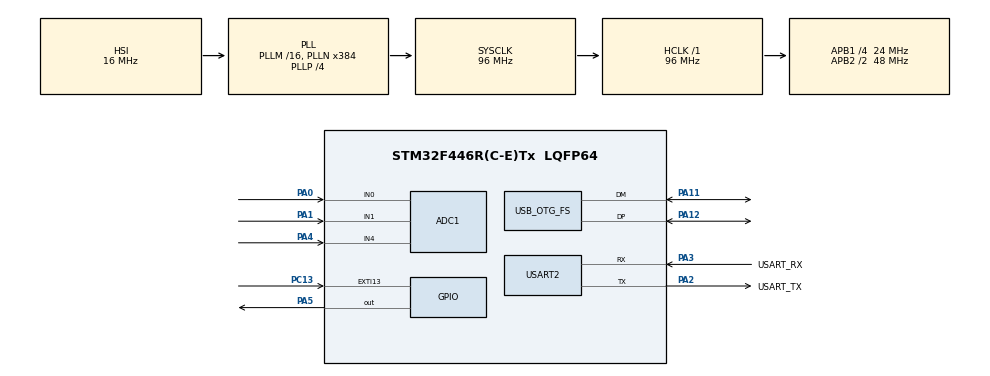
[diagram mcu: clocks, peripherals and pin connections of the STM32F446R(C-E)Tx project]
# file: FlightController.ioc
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ADC1.Channel-0\#ChannelRegularConversion=ADC_CHANNEL_0
ADC1.Channel-1\#ChannelRegularConversion=ADC_CHANNEL_1
ADC1.Channel-2\#ChannelRegularConversion=ADC_CHANNEL_4
ADC1.ContinuousConvMode=ENABLE
ADC1.DMAContinuousRequests=ENABLE
ADC1.NbrOfConversion=3
ADC1.NbrOfConversionFlag=1
ADC1.Rank-0\#ChannelRegularConversion=1
ADC1.Rank-1\#ChannelRegularConversion=2
ADC1.Rank-2\#ChannelRegularConversion=3
ADC1.SamplingTime-0\#ChannelRegularConversion=ADC_SAMPLETIME_56CYCLES
ADC1.SamplingTime-1\#ChannelRegularConversion=ADC_SAMPLETIME_56CYCLES
ADC1.SamplingTime-2\#ChannelRegularConversion=ADC_SAMPLETIME_56CYCLES
ADC1.ScanConvMode=ENABLE
ADC1.master=1
Dma.ADC1.0.Direction=DMA_PERIPH_TO_MEMORY
Dma.ADC1.0.FIFOMode=DMA_FIFOMODE_DISABLE
Dma.ADC1.0.Instance=DMA2_Stream0
Dma.ADC1.0.MemDataAlignment=DMA_MDATAALIGN_HALFWORD
Dma.ADC1.0.MemInc=DMA_MINC_ENABLE
Dma.ADC1.0.Mode=DMA_CIRCULAR
Dma.ADC1.0.PeriphDataAlignment=DMA_PDATAALIGN_HALFWORD
Dma.ADC1.0.PeriphInc=DMA_PINC_DISABLE
Dma.ADC1.0.Priority=DMA_PRIORITY_LOW
Dma.Request0=ADC1
Mcu.Family=STM32F4
Mcu.Name=STM32F446R(C-E)Tx
Mcu.Package=LQFP64
NUCLEO-F446RE.BUTTON=1
NUCLEO-F446RE.LD1=true
NVIC.DMA2_Stream0_IRQn=true\:0\:0\:false\:false\:true\:false\:true\:true
NVIC.EXTI15_10_IRQn=true\:0\:0\:false\:false\:true\:false\:true\:true
NVIC.OTG_FS_IRQn=true\:0\:0\:false\:false\:true\:false\:true\:true
NVIC.PriorityGroup=NVIC_PRIORITYGROUP_0
PA0-WKUP.Signal=ADCx_IN0
PA1.Signal=ADCx_IN1
PA11.Mode=Device_Only
PA11.Signal=USB_OTG_FS_DM
PA12.Mode=Device_Only
PA12.Signal=USB_OTG_FS_DP
PA13.GPIO_Label=TMS
PA13.Signal=SYS_JTMS-SWDIO
PA14.GPIO_Label=TCK
PA14.Signal=SYS_JTCK-SWCLK
PA2.GPIO_Label=USART_TX
PA2.Mode=Asynchronous
PA2.Signal=USART2_TX
PA3.GPIO_Label=USART_RX
PA3.Mode=Asynchronous
PA3.Signal=USART2_RX
PA4.Signal=ADCx_IN4
PA5.Signal=GPIO_Output
PB3.GPIO_Label=SWO
PB3.Signal=SYS_JTDO-SWO
PC13.Signal=GPXTI13
PC14-OSC32_IN.Signal=RCC_OSC32_IN
PC15-OSC32_OUT.Signal=RCC_OSC32_OUT
PH0-OSC_IN.Signal=RCC_OSC_IN
PH1-OSC_OUT.Signal=RCC_OSC_OUT
ProjectManager.HeapSize=0x200
ProjectManager.StackSize=0x400
ProjectManager.TargetToolchain=STM32CubeIDE
RCC.AHBFreq_Value=96000000
RCC.APB1CLKDivider=RCC_HCLK_DIV4
RCC.APB1Freq_Value=24000000
RCC.APB1TimFreq_Value=48000000
RCC.APB2CLKDivider=RCC_HCLK_DIV2
RCC.APB2Freq_Value=48000000
RCC.APB2TimFreq_Value=96000000
RCC.CortexFreq_Value=96000000
RCC.FLatency-AdvancedSettings=FLASH_LATENCY_3
RCC.HCLKFreq_Value=96000000
RCC.HSE_VALUE=8000000
RCC.HSI_VALUE=16000000
RCC.LSE_VALUE=32768
RCC.PLLN=384
RCC.PLLP=RCC_PLLP_DIV4
RCC.PLLQ=8
RCC.PLLSource=RCC_PLLSOURCE_HSI
RCC.PLLSourceVirtual=RCC_PLLSOURCE_HSI
RCC.SYSCLKFreq_VALUE=96000000
RCC.SYSCLKSource=RCC_SYSCLKSOURCE_PLLCLK
RCC.USBFreq_Value=48000000
RCC.VCOOutputFreq_Value=384000000
SH.ADCx_IN0.0=ADC1_IN0,IN0
SH.ADCx_IN1.0=ADC1_IN1,IN1
SH.ADCx_IN4.0=ADC1_IN4,IN4
USART2.VirtualMode=VM_ASYNC
USB_DEVICE.CLASS_NAME_FS=HID
USB_DEVICE.VirtualMode-HID_FS=Hid
USB_DEVICE.VirtualModeFS=Hid_FS
USB_OTG_FS.VirtualMode=Device_Only
VP_NUCLEO-F446RE_VS_BSP_COMMON.Mode=COMMON
VP_USB_DEVICE_VS_USB_DEVICE_HID_FS.Mode=HID_FS
board=NUCLEO-F446RE

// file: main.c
/* USER CODE BEGIN Header */
/**
  ******************************************************************************
  * @file           : main.c
  * @brief          : Main program body
  ******************************************************************************
  * @attention
  *
  * Copyright (c) 2026 STMicroelectronics.
  * All rights reserved.
  *
  * This software is licensed under terms that can be found in the LICENSE file
  * in the root directory of this software component.
  * If no LICENSE file comes with this software, it is provided AS-IS.
  *
  ******************************************************************************
  */
/* USER CODE END Header */
#include "main.h"
#include "adc.h"
#include "dma.h"
#include "usart.h"
#include "usb_device.h"
#include "gpio.h"

/* USER CODE BEGIN Includes */
#include "usbd_hid.h"
extern USBD_HandleTypeDef hUsbDeviceFS;
#include <stdio.h>
/* USER CODE END Includes */

/* USER CODE BEGIN PV */
#define NUM_CHANNELS 3
#define FILTER_SIZE  16
extern UART_HandleTypeDef huart2;

uint16_t raw_adc[NUM_CHANNELS];
uint32_t filter_buffer[NUM_CHANNELS][FILTER_SIZE] = {0};
uint8_t  filter_idx = 0;

// Bilgisayara gidecek 3 eksenlik veri paketi (X, Y, Z)
typedef struct {
    uint8_t roll;      // X ekseni (A0)
    uint8_t pitch;     // Y ekseni (A1)
    uint8_t throttle;  // Z ekseni (A2)
} __attribute__((packed)) JoystickReport_t;

JoystickReport_t joy_report;
/* USER CODE END PV */

void SystemClock_Config(void);

int main(void)
{

  /* MCU Configuration--------------------------------------------------------*/

  /* Reset of all peripherals, Initializes the Flash interface and the Systick. */
  HAL_Init();

  /* Configure the system clock */
  SystemClock_Config();

  /* Initialize all configured peripherals */
  MX_GPIO_Init();
  MX_DMA_Init();
  MX_ADC1_Init();
  MX_USB_DEVICE_Init();
  MX_USART2_UART_Init();
  /* USER CODE BEGIN 2 */
  HAL_ADC_Start_DMA(&hadc1, (uint32_t*)raw_adc, NUM_CHANNELS);
  /* USER CODE END 2 */

  /* Initialize leds */
  BSP_LED_Init(LED2);

  /* Initialize USER push-button, will be used to trigger an interrupt each time it's pressed.*/
  BSP_PB_Init(BUTTON_USER, BUTTON_MODE_EXTI);

  /* Infinite loop */
  /* USER CODE BEGIN WHILE */
    char uart_buf[64];
    while (1)
    {
    /* USER CODE END WHILE */

    /* USER CODE BEGIN 3 */
      // 1. ADC verilerini filtre tamponuna yaz
      filter_buffer[0][filter_idx] = raw_adc[0]; // A0 - Roll
      filter_buffer[1][filter_idx] = raw_adc[1]; // A1 - Pitch
      filter_buffer[2][filter_idx] = raw_adc[2]; // A2 - Throttle
      filter_idx = (filter_idx + 1) % FILTER_SIZE;

      // 2. Ortalama al
      uint32_t sum[3] = {0, 0, 0};
      for (int i = 0; i < FILTER_SIZE; i++) {
          sum[0] += filter_buffer[0][i];
          sum[1] += filter_buffer[1][i];
          sum[2] += filter_buffer[2][i];
      }

      uint16_t roll_val     = (uint16_t)(sum[0] / FILTER_SIZE);
      uint16_t pitch_val    = (uint16_t)(sum[1] / FILTER_SIZE);
      uint16_t throttle_val = (uint16_t)(sum[2] / FILTER_SIZE);

      // 3. Seri porta veri bas: 2150,1820,300\n
      int len = sprintf(uart_buf, "%u,%u,%u\r\n", roll_val, pitch_val, throttle_val);
      HAL_UART_Transmit(&huart2, (uint8_t*)uart_buf, len, 10);

      HAL_Delay(10);
    }
  /* USER CODE END 3 */
}

void SystemClock_Config(void)
{
  RCC_OscInitTypeDef RCC_OscInitStruct = {0};
  RCC_ClkInitTypeDef RCC_ClkInitStruct = {0};

  /** Configure the main internal regulator output voltage
  */
  __HAL_RCC_PWR_CLK_ENABLE();
  __HAL_PWR_VOLTAGESCALING_CONFIG(PWR_REGULATOR_VOLTAGE_SCALE3);

  /** Initializes the RCC Oscillators according to the specified parameters
  * in the RCC_OscInitTypeDef structure.
  */
  RCC_OscInitStruct.OscillatorType = RCC_OSCILLATORTYPE_HSI;
  RCC_OscInitStruct.HSIState = RCC_HSI_ON;
  RCC_OscInitStruct.HSICalibrationValue = RCC_HSICALIBRATION_DEFAULT;
  RCC_OscInitStruct.PLL.PLLState = RCC_PLL_ON;
  RCC_OscInitStruct.PLL.PLLSource = RCC_PLLSOURCE_HSI;
  RCC_OscInitStruct.PLL.PLLM = 16;
  RCC_OscInitStruct.PLL.PLLN = 384;
  RCC_OscInitStruct.PLL.PLLP = RCC_PLLP_DIV4;
  RCC_OscInitStruct.PLL.PLLQ = 8;
  RCC_OscInitStruct.PLL.PLLR = 2;
  if (HAL_RCC_OscConfig(&RCC_OscInitStruct) != HAL_OK)
  {
    Error_Handler();
  }

  /** Initializes the CPU, AHB and APB buses clocks
  */
  RCC_ClkInitStruct.ClockType = RCC_CLOCKTYPE_HCLK|RCC_CLOCKTYPE_SYSCLK
                              |RCC_CLOCKTYPE_PCLK1|RCC_CLOCKTYPE_PCLK2;
  RCC_ClkInitStruct.SYSCLKSource = RCC_SYSCLKSOURCE_PLLCLK;
  RCC_ClkInitStruct.AHBCLKDivider = RCC_SYSCLK_DIV1;
  RCC_ClkInitStruct.APB1CLKDivider = RCC_HCLK_DIV4;
  RCC_ClkInitStruct.APB2CLKDivider = RCC_HCLK_DIV2;

  if (HAL_RCC_ClockConfig(&RCC_ClkInitStruct, FLASH_LATENCY_3) != HAL_OK)
  {
    Error_Handler();
  }
}

void Error_Handler(void)
{
  __disable_irq();
  while (1)
  {
  }
}
